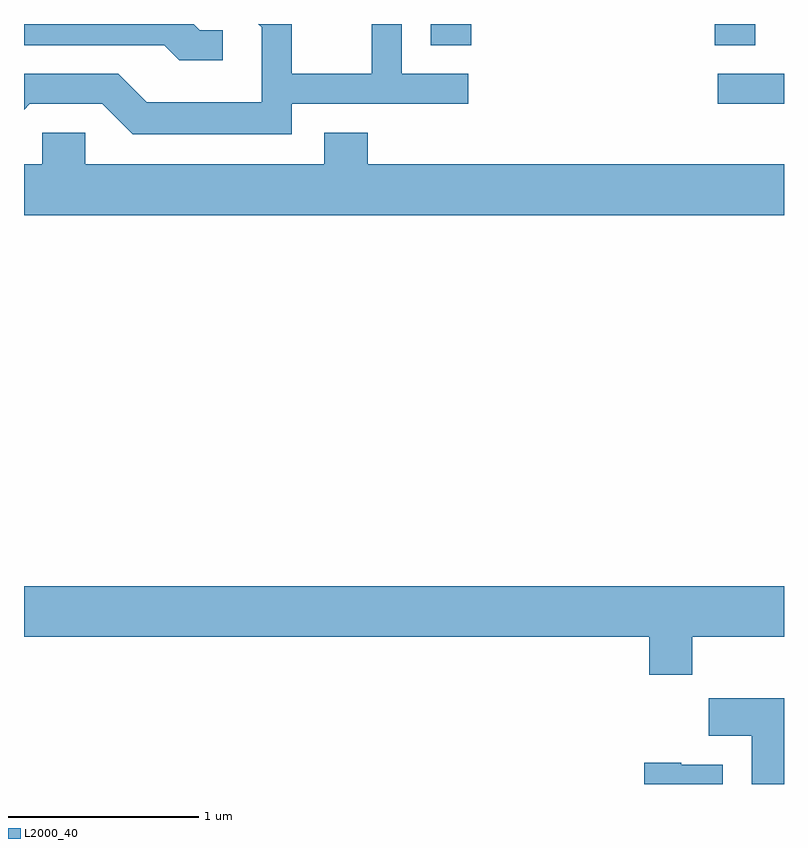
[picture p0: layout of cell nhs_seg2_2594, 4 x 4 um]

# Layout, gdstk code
import gdstk
lib = gdstk.Library(unit=1e-6, precision=1e-09)
def R(c, l, rs):  # rectangles x0, y0, x1, y1
    for r in rs: c.add(gdstk.rectangle(r[:2], r[2:], *l))
def P(c, l, *ps):  # polygons
    for p in ps: c.add(gdstk.Polygon(p, *l))
L2000_40 = (2000, 40)

nhs_seg2_2594 = lib.new_cell('nhs_seg2_2594')
R(nhs_seg2_2594, L2000_40, [(265.263,1013.381,265.611,1013.539), (263.751,1013.691,263.964,1013.802), (265.246,1013.691,265.459,1013.802)])
P(nhs_seg2_2594, L2000_40, [(262.658,1013.769),(262.537,1013.769),(262.504,1013.802),(261.611,1013.802),(261.611,1013.691),(262.349,1013.691),(262.429,1013.611),(262.658,1013.611)],
  [(263.019,1013.381),(263.948,1013.381),(263.948,1013.539),(263.599,1013.539),(263.599,1013.802),(263.441,1013.802),(263.441,1013.539),(263.019,1013.539),(263.019,1013.802),(262.843,1013.802),(262.861,1013.784),(262.861,1013.389),(262.257,1013.389),(262.106,1013.539),(261.611,1013.539),(261.611,1013.35),(261.642,1013.381),(262.024,1013.381),(262.184,1013.221),(263.019,1013.221)],
  [(265.611,1013.064),(263.419,1013.064),(263.419,1013.229),(263.191,1013.229),(263.191,1013.064),(261.934,1013.064),(261.934,1013.229),(261.706,1013.229),(261.706,1013.064),(261.611,1013.064),(261.611,1012.796),(265.611,1012.796)],
  [(265.129,1010.576),(265.611,1010.576),(265.611,1010.844),(261.611,1010.844),(261.611,1010.576),(264.901,1010.576),(264.901,1010.376),(265.129,1010.376)],
  [(265.611,1010.254),(265.216,1010.254),(265.216,1010.056),(265.441,1010.056),(265.441,1009.802),(265.611,1009.802)],
  [(265.289,1009.904),(265.07,1009.904),(265.07,1009.914),(264.876,1009.914),(264.876,1009.802),(265.289,1009.802)])

lib.write_gds('nhs_seg2_2594.gds')
